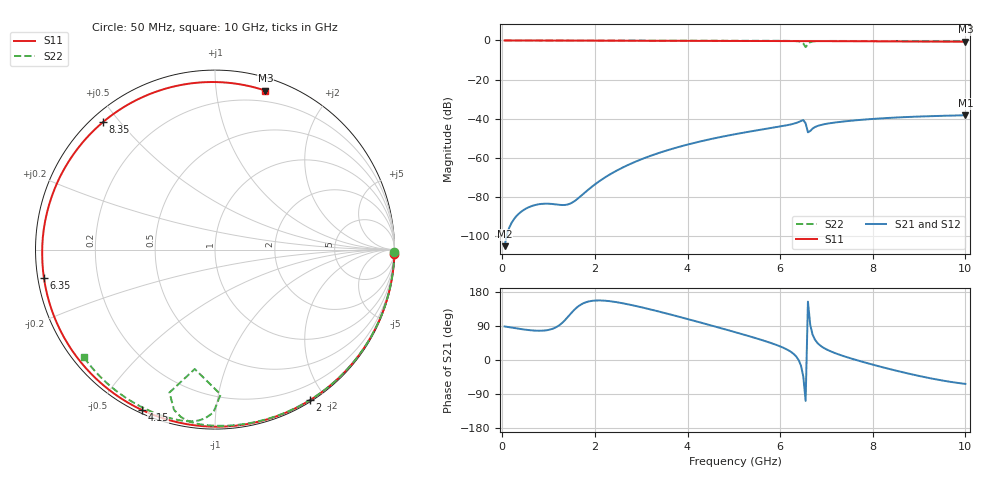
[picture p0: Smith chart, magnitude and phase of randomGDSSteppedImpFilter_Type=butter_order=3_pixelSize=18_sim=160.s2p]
! freq	dB(S11)	phase(S11)	dB(S12)	phase(S12)
!  dB(S21)	phase(S21)	dB(S22)	phase(S22)
!S-par simulation data
#  GHz  S  DB  R 50
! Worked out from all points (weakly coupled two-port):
!   200 points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, 50 MHz to 10 GHz, reference 50 ohm
!   highest |S21| = -38.23 dB at 10 GHz (marker M1); lowest = -105.1 dB at 50 MHz (marker M2)
!   lowest |S11| = -0.6 dB at 10 GHz (marker M3), VSWR 27.23, Z = 5.25 + j68.1 ohm
!   |S11| at or under -10 dB: nowhere
!   |S22| runs from -3.4 to 0.0 dB; largest |S21 - S12| = 0
!   S11 on the Smith chart (normalised r, x): 50 MHz: 0, -76; 2 GHz: 0.02, -1.81; 4.15 GHz: 0.01, -0.64; 6.35 GHz: 0.02, -0.08; 8.35 GHz: 0.03, +0.45; 10 GHz: 0.11, +1.36
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0.05  -0.00 -1.5  -105.13 88.5  -105.13 88.5  -0.00 -0.8
0.85  -0.03 -25.0  -83.52 77.3  -83.52 77.3  -0.02 -13.8
1.65  -0.06 -48.0  -80.43 142.4  -80.43 142.4  -0.03 -26.7
1.75  -0.06 -50.8  -78.40 149.6  -78.40 149.6  -0.04 -28.3
2  -0.07 -57.8  -73.57 156.9  -73.57 156.9  -0.04 -32.2
2.6  -0.09 -74.2  -64.93 149.8  -64.93 149.8  -0.05 -41.6
3.4  -0.12 -95.3  -57.35 127.4  -57.35 127.4  -0.07 -53.8
4.15  -0.16 -114.5  -52.31 103.2  -52.31 103.2  -0.09 -64.9
5.05  -0.21 -137.2  -47.80 72.7  -47.80 72.7  -0.12 -77.9
5.7  -0.25 -153.7  -45.15 49.0  -45.15 49.0  -0.15 -87.4
6.35  -0.30 -170.6  -42.14 8.8  -42.14 8.8  -0.33 -99.6
6.45  -0.31 -173.2  -41.14 -14.9  -41.14 -14.9  -0.71 -104.4
6.5  -0.31 -174.5  -40.66 -43.8  -40.66 -43.8  -1.56 -107.7
6.55  -0.32 -175.9  -42.35 -108.0  -42.35 -108.0  -3.42 -99.6
6.6  -0.32 -177.2  -46.94 154.0  -46.94 154.0  -1.86 -87.8
6.65  -0.33 -178.5  -46.26 92.3  -46.26 92.3  -0.84 -90.6
6.7  -0.33 -179.9  -45.05 67.0  -45.05 67.0  -0.52 -93.3
6.95  -0.35 173.2  -42.81 31.3  -42.81 31.3  -0.26 -100.3
7.55  -0.41 156.1  -40.98 3.3  -40.98 3.3  -0.26 -109.4
8.35  -0.49 131.4  -39.58 -23.4  -39.58 -23.4  -0.32 -120.0
9.25  -0.57 100.5  -38.68 -48.4  -38.68 -48.4  -0.40 -131.3
10  -0.64 72.4  -38.23 -63.1  -38.23 -63.1  -0.49 -140.8
